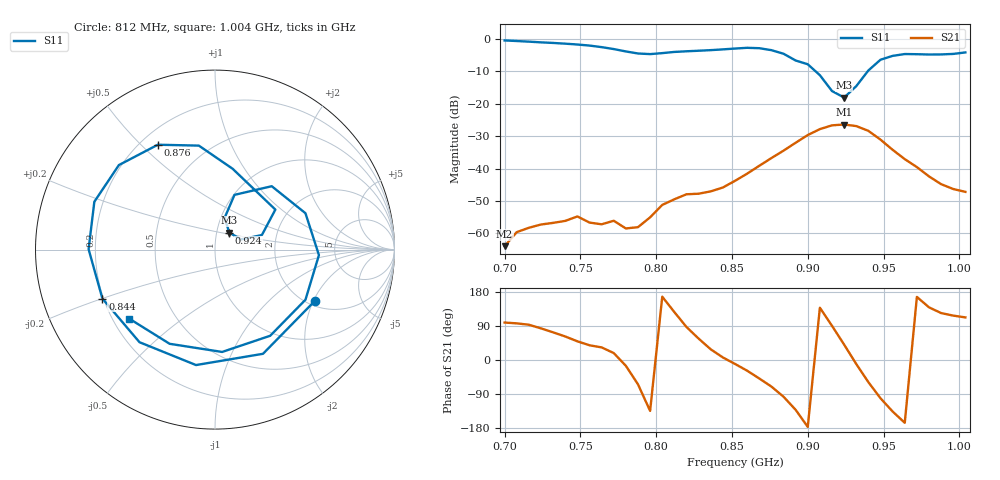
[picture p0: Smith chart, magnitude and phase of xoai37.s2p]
# Hz S RI R 50
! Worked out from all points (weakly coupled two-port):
!   39 points, 700 MHz to 1.004 GHz, reference 50 ohm
!   highest |S21| = -26.44 dB at 924 MHz (marker M1); lowest = -63.9 dB at 700 MHz (marker M2)
!   lowest |S11| = -18.2 dB at 924 MHz (marker M3), VSWR 1.28, Z = 57.5 + j11.1 ohm
!   |S11| at or under -10 dB: 905 MHz to 939.7 MHz (34.64 MHz wide, 3.76 % of centre)
!   S12 and S22 are empty: the file has one direction only
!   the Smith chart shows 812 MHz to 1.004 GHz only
!   S11 on the Smith chart (normalised r, x): 812 MHz: 2.17, -2.05; 844 MHz: 0.20, -0.20; 876 MHz: 0.27, +0.56; 924 MHz: 1.15, +0.22; 1.004 GHz: 0.27, -0.33
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7e8  0.7567 0.5552  -9.77e-05 0.000629  0 0  0 0
7.24e8  0.8427 -0.2444  0.000157 0.00136  0 0  0 0
7.4e8  0.4564 -0.7022  0.000731 0.00138  0 0  0 0
7.56e8  -0.193 -0.7587  0.00115 0.000922  0 0  0 0
7.72e8  -0.6631 -0.197  0.00149 0.000492  0 0  0 0
7.8e8  -0.5932 0.228  0.00115 -0.000316  0 0  0 0
7.88e8  -0.2438 0.5385  0.000544 -0.00113  0 0  0 0
7.96e8  0.2464 0.5233  -0.00124 -0.00127  0 0  0 0
8.04e8  0.5741 0.1709  -0.00268 0.000612  0 0  0 0
8.12e8  0.5549 -0.2873  -0.00199 0.0027  0 0  0 0
8.28e8  -0.1058 -0.6433  0.00226 0.00341  0 0  0 0
8.44e8  -0.6274 -0.2727  0.00506 0.000597  0 0  0 0
8.52e8  -0.7043 0.00215  0.00635 -0.00116  0 0  0 0
8.76e8  -0.3185 0.5843  0.00494 -0.0136  0 0  0 0
9e8  0.3364 0.223  -0.0327 -0.002  0 0  0 0
9.08e8  0.2614 0.0813  -0.03 0.0271  0 0  0 0
9.24e8  0.0794 0.0948  0.0362 0.031  0 0  0 0
9.4e8  0.1086 0.305  0.0199 -0.0324  0 0  0 0
9.56e8  0.504 0.2027  -0.014 -0.0135  0 0  0 0
9.64e8  0.5791 -0.0308  -0.0135 -0.00344  0 0  0 0
9.8e8  0.3076 -0.4801  -0.0057 0.00496  0 0  0 0
1.004e9  -0.4791 -0.3839  -0.00167 0.00404  0 0  0 0
